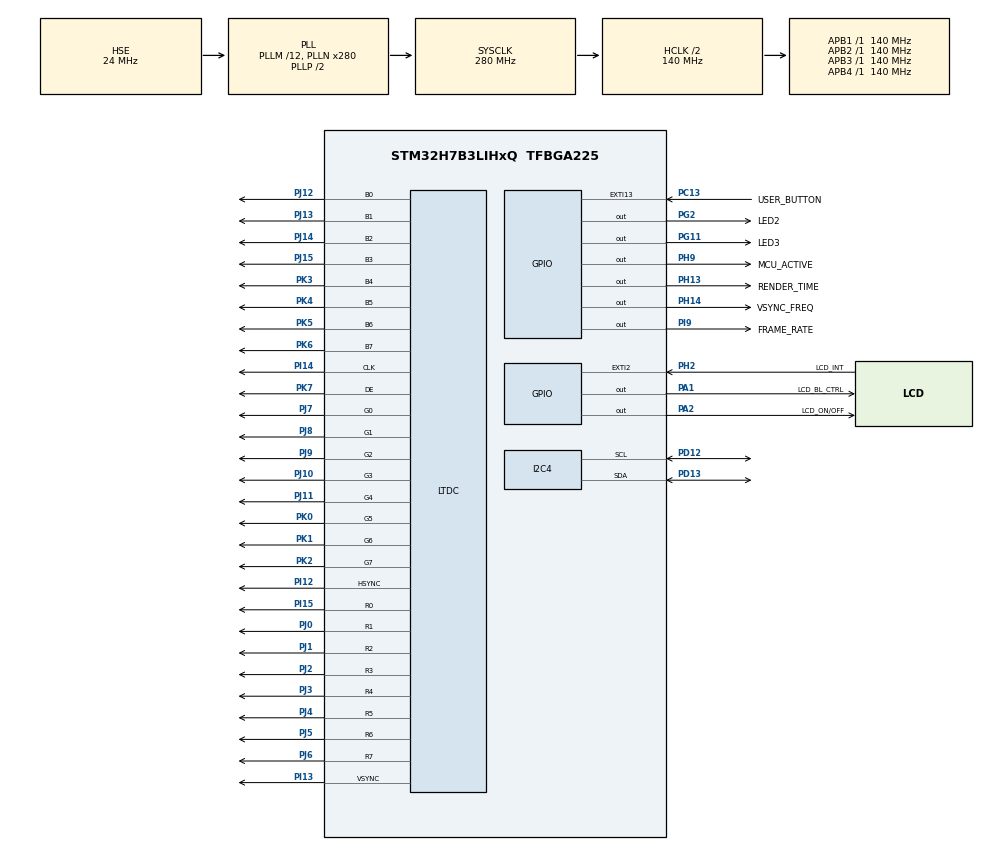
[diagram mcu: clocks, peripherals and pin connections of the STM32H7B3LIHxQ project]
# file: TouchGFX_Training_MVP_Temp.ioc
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CORTEX_M7.AccessPermission-Cortex_Memory_Protection_Unit_Region1_Settings=MPU_REGION_FULL_ACCESS
CORTEX_M7.AccessPermission-Cortex_Memory_Protection_Unit_Region2_Settings=MPU_REGION_FULL_ACCESS
CORTEX_M7.AccessPermission-Cortex_Memory_Protection_Unit_Region3_Settings=MPU_REGION_FULL_ACCESS
CORTEX_M7.BaseAddress-Cortex_Memory_Protection_Unit_Region0_Settings=0x90000000
CORTEX_M7.BaseAddress-Cortex_Memory_Protection_Unit_Region1_Settings=0x90000000
CORTEX_M7.BaseAddress-Cortex_Memory_Protection_Unit_Region2_Settings=0x24000000
CORTEX_M7.BaseAddress-Cortex_Memory_Protection_Unit_Region3_Settings=0x24000000
CORTEX_M7.CPU_DCache=Enabled
CORTEX_M7.CPU_ICache=Enabled
CORTEX_M7.DisableExec-Cortex_Memory_Protection_Unit_Region0_Settings=MPU_INSTRUCTION_ACCESS_DISABLE
CORTEX_M7.DisableExec-Cortex_Memory_Protection_Unit_Region1_Settings=MPU_INSTRUCTION_ACCESS_DISABLE
CORTEX_M7.DisableExec-Cortex_Memory_Protection_Unit_Region2_Settings=MPU_INSTRUCTION_ACCESS_DISABLE
CORTEX_M7.DisableExec-Cortex_Memory_Protection_Unit_Region3_Settings=MPU_INSTRUCTION_ACCESS_DISABLE
CORTEX_M7.Enable-Cortex_Memory_Protection_Unit_Region0_Settings=MPU_REGION_ENABLE
CORTEX_M7.Enable-Cortex_Memory_Protection_Unit_Region1_Settings=MPU_REGION_ENABLE
CORTEX_M7.Enable-Cortex_Memory_Protection_Unit_Region2_Settings=MPU_REGION_ENABLE
CORTEX_M7.Enable-Cortex_Memory_Protection_Unit_Region3_Settings=MPU_REGION_ENABLE
CORTEX_M7.IsBufferable-Cortex_Memory_Protection_Unit_Region1_Settings=MPU_ACCESS_NOT_BUFFERABLE
CORTEX_M7.IsBufferable-Cortex_Memory_Protection_Unit_Region3_Settings=MPU_ACCESS_BUFFERABLE
CORTEX_M7.IsCacheable-Cortex_Memory_Protection_Unit_Region1_Settings=MPU_ACCESS_CACHEABLE
CORTEX_M7.IsCacheable-Cortex_Memory_Protection_Unit_Region2_Settings=MPU_ACCESS_CACHEABLE
CORTEX_M7.IsCacheable-Cortex_Memory_Protection_Unit_Region3_Settings=MPU_ACCESS_CACHEABLE
CORTEX_M7.MPU_Control=MPU_PRIVILEGED_DEFAULT
CORTEX_M7.Size-Cortex_Memory_Protection_Unit_Region0_Settings=MPU_REGION_SIZE_256MB
CORTEX_M7.Size-Cortex_Memory_Protection_Unit_Region1_Settings=MPU_REGION_SIZE_64MB
CORTEX_M7.Size-Cortex_Memory_Protection_Unit_Region2_Settings=MPU_REGION_SIZE_1MB
CORTEX_M7.Size-Cortex_Memory_Protection_Unit_Region3_Settings=MPU_REGION_SIZE_256KB
CORTEX_M7.default_mode_Activation=0
DMA2D.ColorMode=DMA2D_OUTPUT_RGB565
FREERTOS.Queues01=buttonQueue,16,uint16_t,0,Dynamic,NULL,NULL
FREERTOS.Tasks01=defaultTask,24,128,StartDefaultTask,Default,NULL,Dynamic,NULL,NULL;GUI_Task,24,8192,TouchGFX_Task,As external,NULL,Dynamic,NULL,NULL
FREERTOS.configTOTAL_HEAP_SIZE=100000
FREERTOS.configUSE_APPLICATION_TASK_TAG=1
FREERTOS.configUSE_IDLE_HOOK=1
FREERTOS.configUSE_NEWLIB_REENTRANT=1
I2C4.Analog_Filter=I2C_ANALOGFILTER_DISABLE
I2C4.Timing=0x30808BD0
LTDC.ActiveH=272
LTDC.ActiveW=480
LTDC.Alpha_L0=255
LTDC.Blue_L0=255
LTDC.FBStartAdress_L0=0xD0000000
LTDC.HBP=2
LTDC.HFP=32
LTDC.HSync=41
LTDC.ImageHeight_L0=272
LTDC.ImageWidth_L0=480
LTDC.Layers=0
LTDC.PixelFormat_L0=LTDC_PIXEL_FORMAT_RGB888
LTDC.VSync=10
LTDC.WindowX1_L0=480
LTDC.WindowY1_L0=272
Mcu.Family=STM32H7
Mcu.Name=STM32H7B3LIHxQ
Mcu.Package=TFBGA225
NVIC.DMA2D_IRQn=true\:5\:0\:false\:false\:true\:true\:true\:true\:true
NVIC.EXTI15_10_IRQn=true\:5\:0\:false\:false\:true\:true\:true\:true\:true
NVIC.EXTI2_IRQn=true\:5\:0\:false\:false\:true\:false\:true\:true\:true
NVIC.LTDC_IRQn=true\:5\:0\:false\:false\:true\:true\:true\:true\:true
NVIC.OCTOSPI1_IRQn=true\:5\:0\:false\:false\:true\:true\:true\:true\:true
NVIC.PriorityGroup=NVIC_PRIORITYGROUP_4
NVIC.TIM6_DAC_IRQn=true\:15\:0\:false\:false\:true\:false\:false\:true\:true
NVIC.TimeBase=TIM6_DAC_IRQn
NVIC.TimeBaseIP=TIM6
OCTOSPI1.ChipSelectHighTime=2
OCTOSPI1.ClockPrescaler=3
OCTOSPI1.DeviceSize=26
PA1.GPIO_Label=LCD_BL_CTRL
PA1.Signal=GPIO_Output
PA2.GPIO_Label=LCD_ON/OFF
PA2.GPIO_PuPd=GPIO_PULLUP
PA2.Signal=GPIO_Output
PC13.GPIO_Label=USER_BUTTON
PC13.Signal=GPXTI13
PD12.GPIO_Pu=GPIO_PULLUP
PD12.GPIO_Speed=GPIO_SPEED_FREQ_HIGH
PD12.Mode=I2C
PD12.Signal=I2C4_SCL
PD13.GPIO_Pu=GPIO_PULLUP
PD13.GPIO_Speed=GPIO_SPEED_FREQ_HIGH
PD13.Mode=I2C
PD13.Signal=I2C4_SDA
PG11.GPIO_Label=LED3
PG11.PinState=GPIO_PIN_SET
PG11.Signal=GPIO_Output
PG2.GPIO_Label=LED2
PG2.PinState=GPIO_PIN_SET
PG2.Signal=GPIO_Output
PH0-OSC_IN.Mode=HSE-External-Oscillator
PH0-OSC_IN.Signal=RCC_OSC_IN
PH1-OSC_OUT.Mode=HSE-External-Oscillator
PH1-OSC_OUT.Signal=RCC_OSC_OUT
PH13.GPIO_Label=RENDER_TIME
PH13.GPIO_Speed=GPIO_SPEED_FREQ_VERY_HIGH
PH13.Signal=GPIO_Output
PH14.GPIO_Label=VSYNC_FREQ
PH14.GPIO_Speed=GPIO_SPEED_FREQ_VERY_HIGH
PH14.Signal=GPIO_Output
PH2.GPIO_Label=LCD_INT
PH2.GPIO_PuPd=GPIO_PULLUP
PH2.Signal=GPXTI2
PH5.Signal=FMC_SDNWE
PH6.Signal=FMC_SDNE1
PH7.Signal=FMC_SDCKE1
PH9.GPIO_Label=MCU_ACTIVE
PH9.GPIO_Speed=GPIO_SPEED_FREQ_VERY_HIGH
PH9.Signal=GPIO_Output
PI12.Mode=RGB888
PI12.Signal=LTDC_HSYNC
PI13.Mode=RGB888
PI13.Signal=LTDC_VSYNC
PI14.Mode=RGB888
PI14.Signal=LTDC_CLK
PI15.Mode=RGB888
PI15.Signal=LTDC_R0
PI9.GPIO_Label=FRAME_RATE
PI9.GPIO_Speed=GPIO_SPEED_FREQ_VERY_HIGH
PI9.Signal=GPIO_Output
PJ0.Mode=RGB888
PJ0.Signal=LTDC_R1
PJ1.Mode=RGB888
PJ1.Signal=LTDC_R2
PJ10.Mode=RGB888
PJ10.Signal=LTDC_G3
PJ11.Mode=RGB888
PJ11.Signal=LTDC_G4
PJ12.Mode=RGB888
PJ12.Signal=LTDC_B0
PJ13.Mode=RGB888
PJ13.Signal=LTDC_B1
PJ14.Mode=RGB888
PJ14.Signal=LTDC_B2
PJ15.Mode=RGB888
PJ15.Signal=LTDC_B3
PJ2.Mode=RGB888
PJ2.Signal=LTDC_R3
PJ3.Mode=RGB888
PJ3.Signal=LTDC_R4
PJ4.Mode=RGB888
PJ4.Signal=LTDC_R5
PJ5.Mode=RGB888
PJ5.Signal=LTDC_R6
PJ6.Mode=RGB888
PJ6.Signal=LTDC_R7
PJ7.Mode=RGB888
PJ7.Signal=LTDC_G0
PJ8.Mode=RGB888
PJ8.Signal=LTDC_G1
PJ9.Mode=RGB888
PJ9.Signal=LTDC_G2
PK0.Mode=RGB888
PK0.Signal=LTDC_G5
PK1.Mode=RGB888
PK1.Signal=LTDC_G6
PK2.Mode=RGB888
PK2.Signal=LTDC_G7
PK3.Mode=RGB888
PK3.Signal=LTDC_B4
PK4.Mode=RGB888
PK4.Signal=LTDC_B5
PK5.Mode=RGB888
PK5.Signal=LTDC_B6
PK6.Mode=RGB888
PK6.Signal=LTDC_B7
PK7.Mode=RGB888
PK7.Signal=LTDC_DE
ProjectManager.HeapSize=0x1000
ProjectManager.StackSize=0x1000
ProjectManager.TargetToolchain=STM32CubeIDE
RCC.ADCFreq_Value=133000000
RCC.APB1Freq_Value=140000000
RCC.APB2Freq_Value=140000000
RCC.APB3Freq_Value=140000000
RCC.APB4Freq_Value=140000000
RCC.CortexFreq_Value=280000000
RCC.DIVM1=12
RCC.DIVM2=24
RCC.DIVM3=24
RCC.DIVN1=280
RCC.DIVN2=266
RCC.DIVN3=201
RCC.DIVR3=21
RCC.HCLKFreq_Value=140000000
RCC.HPRE=RCC_HCLK_DIV2
RCC.HSE_VALUE=24000000
RCC.PLL3FRACN=5462
RCC.PLLSourceVirtual=RCC_PLLSOURCE_HSE
RCC.SYSCLKFreq_VALUE=280000000
RCC.SYSCLKSource=RCC_SYSCLKSOURCE_PLLCLK
RCC.USBFreq_Value=280000000
SH.FMC_SDNWE.0=FMC_SDNWE
STMicroelectronics.X-CUBE-TOUCHGFX.4.23.2.ApplicationCcGraphicsJjApplication=TouchGFXOoGenerator
STMicroelectronics.X-CUBE-TOUCHGFX.4.23.2.tgfx_buffering_strategy=Single
STMicroelectronics.X-CUBE-TOUCHGFX.4.23.2.tgfx_display_interface=disp_ltdc
STMicroelectronics.X-CUBE-TOUCHGFX.4.23.2.tgfx_hardware_accelerator=dma_2d
STMicroelectronics.X-CUBE-TOUCHGFX.4.23.2.tgfx_vsync=vsync_ltdc
STMicroelectronics.X-CUBE-TOUCHGFX.4.23.2_IsPackSelfContextualization=true
VP_CRC_VS_CRC.Mode=CRC_Activate
VP_DMA2D_VS_DMA2D.Mode=DMA2D_Activate
VP_FREERTOS_VS_CMSIS_V2.Mode=CMSIS_V2
VP_OCTOSPI1_VS_octo.Mode=octo_mode
VP_STMicroelectronics.X-CUBE-TOUCHGFX_VS_GraphicsJjApplication_4.23.2.Mode=GraphicsJjApplication
VP_SYS_VS_tim6.Mode=TIM6
board=custom

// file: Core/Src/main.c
/* USER CODE BEGIN Header */
/**
  ******************************************************************************
  * @file           : main.c
  * @brief          : Main program body
  ******************************************************************************
  * @attention
  *
  * Copyright (c) 2024 STMicroelectronics.
  * All rights reserved.
  *
  * This software is licensed under terms that can be found in the LICENSE file
  * in the root directory of this software component.
  * If no LICENSE file comes with this software, it is provided AS-IS.
  *
  ******************************************************************************
  */
/* USER CODE END Header */
#include "main.h"
#include "cmsis_os.h"
#include "app_touchgfx.h"

/* USER CODE BEGIN Includes */
#include "stm32h7b3i_discovery_ospi.h"
/* USER CODE END Includes */

CRC_HandleTypeDef hcrc;

DMA2D_HandleTypeDef hdma2d;

I2C_HandleTypeDef hi2c4;

LTDC_HandleTypeDef hltdc;

OSPI_HandleTypeDef hospi1;

/* Definitions for defaultTask */
osThreadId_t defaultTaskHandle;
const osThreadAttr_t defaultTask_attributes = {
  .name = "defaultTask",
  .stack_size = 128 * 4,
  .priority = (osPriority_t) osPriorityNormal,
};
/* Definitions for GUI_Task */
osThreadId_t GUI_TaskHandle;
const osThreadAttr_t GUI_Task_attributes = {
  .name = "GUI_Task",
  .stack_size = 8192 * 4,
  .priority = (osPriority_t) osPriorityNormal,
};
/* Definitions for buttonQueue */
osMessageQueueId_t buttonQueueHandle;
const osMessageQueueAttr_t buttonQueue_attributes = {
  .name = "buttonQueue"
};

void SystemClock_Config(void);
static void MPU_Config(void);
static void MX_GPIO_Init(void);
static void MX_DMA2D_Init(void);
static void MX_I2C4_Init(void);
static void MX_OCTOSPI1_Init(void);
static void MX_CRC_Init(void);
static void MX_LTDC_Init(void);
void StartDefaultTask(void *argument);
extern void TouchGFX_Task(void *argument);

int main(void)
{

  /* MPU Configuration--------------------------------------------------------*/
  MPU_Config();

  /* Enable the CPU Cache */

  /* Enable I-Cache---------------------------------------------------------*/
  SCB_EnableICache();

  /* Enable D-Cache---------------------------------------------------------*/
  SCB_EnableDCache();

  /* MCU Configuration--------------------------------------------------------*/

  /* Reset of all peripherals, Initializes the Flash interface and the Systick. */
  HAL_Init();

  /* Configure the system clock */
  SystemClock_Config();

  /* Initialize all configured peripherals */
  MX_GPIO_Init();
  MX_DMA2D_Init();
  MX_I2C4_Init();
  MX_OCTOSPI1_Init();
  MX_CRC_Init();
  MX_LTDC_Init();
  MX_TouchGFX_Init();
  /* Call PreOsInit function */
  MX_TouchGFX_PreOSInit();

  /* Init scheduler */
  osKernelInitialize();

  /* Create the queue(s) */
  /* creation of buttonQueue */
  buttonQueueHandle = osMessageQueueNew (16, sizeof(uint16_t), &buttonQueue_attributes);

  /* Create the thread(s) */
  /* creation of defaultTask */
  defaultTaskHandle = osThreadNew(StartDefaultTask, NULL, &defaultTask_attributes);

  /* creation of GUI_Task */
  GUI_TaskHandle = osThreadNew(TouchGFX_Task, NULL, &GUI_Task_attributes);

  /* Start scheduler */
  osKernelStart();

  /* We should never get here as control is now taken by the scheduler */

  /* Infinite loop */
  while (1)
  {

  }
}

void SystemClock_Config(void)
{
  RCC_OscInitTypeDef RCC_OscInitStruct = {0};
  RCC_ClkInitTypeDef RCC_ClkInitStruct = {0};

  /*AXI clock gating */
  RCC->CKGAENR = 0xFFFFFFFF;

  /** Supply configuration update enable
  */
  HAL_PWREx_ConfigSupply(PWR_DIRECT_SMPS_SUPPLY);

  /** Configure the main internal regulator output voltage
  */
  __HAL_PWR_VOLTAGESCALING_CONFIG(PWR_REGULATOR_VOLTAGE_SCALE0);

  while(!__HAL_PWR_GET_FLAG(PWR_FLAG_VOSRDY)) {}

  /** Initializes the RCC Oscillators according to the specified parameters
  * in the RCC_OscInitTypeDef structure.
  */
  RCC_OscInitStruct.OscillatorType = RCC_OSCILLATORTYPE_HSE;
  RCC_OscInitStruct.HSEState = RCC_HSE_ON;
  RCC_OscInitStruct.PLL.PLLState = RCC_PLL_ON;
  RCC_OscInitStruct.PLL.PLLSource = RCC_PLLSOURCE_HSE;
  RCC_OscInitStruct.PLL.PLLM = 12;
  RCC_OscInitStruct.PLL.PLLN = 280;
  RCC_OscInitStruct.PLL.PLLP = 2;
  RCC_OscInitStruct.PLL.PLLQ = 2;
  RCC_OscInitStruct.PLL.PLLR = 2;
  RCC_OscInitStruct.PLL.PLLRGE = RCC_PLL1VCIRANGE_1;
  RCC_OscInitStruct.PLL.PLLVCOSEL = RCC_PLL1VCOWIDE;
  RCC_OscInitStruct.PLL.PLLFRACN = 0;
  if (HAL_RCC_OscConfig(&RCC_OscInitStruct) != HAL_OK)
  {
    Error_Handler();
  }

  /** Initializes the CPU, AHB and APB buses clocks
  */
  RCC_ClkInitStruct.ClockType = RCC_CLOCKTYPE_HCLK|RCC_CLOCKTYPE_SYSCLK
                              |RCC_CLOCKTYPE_PCLK1|RCC_CLOCKTYPE_PCLK2
                              |RCC_CLOCKTYPE_D3PCLK1|RCC_CLOCKTYPE_D1PCLK1;
  RCC_ClkInitStruct.SYSCLKSource = RCC_SYSCLKSOURCE_PLLCLK;
  RCC_ClkInitStruct.SYSCLKDivider = RCC_SYSCLK_DIV1;
  RCC_ClkInitStruct.AHBCLKDivider = RCC_HCLK_DIV2;
  RCC_ClkInitStruct.APB3CLKDivider = RCC_APB3_DIV1;
  RCC_ClkInitStruct.APB1CLKDivider = RCC_APB1_DIV1;
  RCC_ClkInitStruct.APB2CLKDivider = RCC_APB2_DIV1;
  RCC_ClkInitStruct.APB4CLKDivider = RCC_APB4_DIV1;

  if (HAL_RCC_ClockConfig(&RCC_ClkInitStruct, FLASH_LATENCY_3) != HAL_OK)
  {
    Error_Handler();
  }
}

static void MX_CRC_Init(void)
{

  hcrc.Instance = CRC;
  hcrc.Init.DefaultPolynomialUse = DEFAULT_POLYNOMIAL_ENABLE;
  hcrc.Init.DefaultInitValueUse = DEFAULT_INIT_VALUE_ENABLE;
  hcrc.Init.InputDataInversionMode = CRC_INPUTDATA_INVERSION_NONE;
  hcrc.Init.OutputDataInversionMode = CRC_OUTPUTDATA_INVERSION_DISABLE;
  hcrc.InputDataFormat = CRC_INPUTDATA_FORMAT_BYTES;
  if (HAL_CRC_Init(&hcrc) != HAL_OK)
  {
    Error_Handler();
  }

}

static void MX_DMA2D_Init(void)
{

  hdma2d.Instance = DMA2D;
  hdma2d.Init.Mode = DMA2D_M2M;
  hdma2d.Init.ColorMode = DMA2D_OUTPUT_RGB565;
  hdma2d.Init.OutputOffset = 0;
  hdma2d.LayerCfg[1].InputOffset = 0;
  hdma2d.LayerCfg[1].InputColorMode = DMA2D_INPUT_RGB565;
  hdma2d.LayerCfg[1].AlphaMode = DMA2D_NO_MODIF_ALPHA;
  hdma2d.LayerCfg[1].InputAlpha = 0;
  hdma2d.LayerCfg[1].AlphaInverted = DMA2D_REGULAR_ALPHA;
  hdma2d.LayerCfg[1].RedBlueSwap = DMA2D_RB_REGULAR;
  hdma2d.LayerCfg[1].ChromaSubSampling = DMA2D_NO_CSS;
  if (HAL_DMA2D_Init(&hdma2d) != HAL_OK)
  {
    Error_Handler();
  }
  if (HAL_DMA2D_ConfigLayer(&hdma2d, 1) != HAL_OK)
  {
    Error_Handler();
  }

}

static void MX_I2C4_Init(void)
{

  hi2c4.Instance = I2C4;
  hi2c4.Init.Timing = 0x30808BD0;
  hi2c4.Init.OwnAddress1 = 0;
  hi2c4.Init.AddressingMode = I2C_ADDRESSINGMODE_7BIT;
  hi2c4.Init.DualAddressMode = I2C_DUALADDRESS_DISABLE;
  hi2c4.Init.OwnAddress2 = 0;
  hi2c4.Init.OwnAddress2Masks = I2C_OA2_NOMASK;
  hi2c4.Init.GeneralCallMode = I2C_GENERALCALL_DISABLE;
  hi2c4.Init.NoStretchMode = I2C_NOSTRETCH_DISABLE;
  if (HAL_I2C_Init(&hi2c4) != HAL_OK)
  {
    Error_Handler();
  }

  /** Configure Analogue filter
  */
  if (HAL_I2CEx_ConfigAnalogFilter(&hi2c4, I2C_ANALOGFILTER_DISABLE) != HAL_OK)
  {
    Error_Handler();
  }

  /** Configure Digital filter
  */
  if (HAL_I2CEx_ConfigDigitalFilter(&hi2c4, 0) != HAL_OK)
  {
    Error_Handler();
  }

}

static void MX_LTDC_Init(void)
{

  LTDC_LayerCfgTypeDef pLayerCfg = {0};

  hltdc.Instance = LTDC;
  hltdc.Init.HSPolarity = LTDC_HSPOLARITY_AL;
  hltdc.Init.VSPolarity = LTDC_VSPOLARITY_AL;
  hltdc.Init.DEPolarity = LTDC_DEPOLARITY_AL;
  hltdc.Init.PCPolarity = LTDC_PCPOLARITY_IPC;
  hltdc.Init.HorizontalSync = 40;
  hltdc.Init.VerticalSync = 9;
  hltdc.Init.AccumulatedHBP = 42;
  hltdc.Init.AccumulatedVBP = 11;
  hltdc.Init.AccumulatedActiveW = 522;
  hltdc.Init.AccumulatedActiveH = 283;
  hltdc.Init.TotalWidth = 554;
  hltdc.Init.TotalHeigh = 285;
  hltdc.Init.Backcolor.Blue = 0;
  hltdc.Init.Backcolor.Green = 0;
  hltdc.Init.Backcolor.Red = 0;
  if (HAL_LTDC_Init(&hltdc) != HAL_OK)
  {
    Error_Handler();
  }
  pLayerCfg.WindowX0 = 0;
  pLayerCfg.WindowX1 = 480;
  pLayerCfg.WindowY0 = 0;
  pLayerCfg.WindowY1 = 272;
  pLayerCfg.PixelFormat = LTDC_PIXEL_FORMAT_RGB888;
  pLayerCfg.Alpha = 255;
  pLayerCfg.Alpha0 = 0;
  pLayerCfg.BlendingFactor1 = LTDC_BLENDING_FACTOR1_CA;
  pLayerCfg.BlendingFactor2 = LTDC_BLENDING_FACTOR2_CA;
  pLayerCfg.FBStartAdress = 0xD0000000;
  pLayerCfg.ImageWidth = 480;
  pLayerCfg.ImageHeight = 272;
  pLayerCfg.Backcolor.Blue = 255;
  pLayerCfg.Backcolor.Green = 0;
  pLayerCfg.Backcolor.Red = 0;
  if (HAL_LTDC_ConfigLayer(&hltdc, &pLayerCfg, 0) != HAL_OK)
  {
    Error_Handler();
  }

}

static void MX_OCTOSPI1_Init(void)
{

  /* OCTOSPI1 parameter configuration*/
  hospi1.Instance = OCTOSPI1;
  hospi1.Init.FifoThreshold = 1;
  hospi1.Init.DualQuad = HAL_OSPI_DUALQUAD_DISABLE;
  hospi1.Init.MemoryType = HAL_OSPI_MEMTYPE_MICRON;
  hospi1.Init.DeviceSize = 26;
  hospi1.Init.ChipSelectHighTime = 2;
  hospi1.Init.FreeRunningClock = HAL_OSPI_FREERUNCLK_DISABLE;
  hospi1.Init.ClockMode = HAL_OSPI_CLOCK_MODE_0;
  hospi1.Init.WrapSize = HAL_OSPI_WRAP_NOT_SUPPORTED;
  hospi1.Init.ClockPrescaler = 3;
  hospi1.Init.SampleShifting = HAL_OSPI_SAMPLE_SHIFTING_NONE;
  hospi1.Init.DelayHoldQuarterCycle = HAL_OSPI_DHQC_DISABLE;
  hospi1.Init.ChipSelectBoundary = 0;
  hospi1.Init.DelayBlockBypass = HAL_OSPI_DELAY_BLOCK_BYPASSED;
  hospi1.Init.MaxTran = 0;
  hospi1.Init.Refresh = 0;
  if (HAL_OSPI_Init(&hospi1) != HAL_OK)
  {
    Error_Handler();
  }
  /* USER CODE BEGIN OCTOSPI1_Init 2 */
  BSP_OSPI_NOR_Init_t Flash;
  Flash.InterfaceMode = BSP_OSPI_NOR_OPI_MODE;
  Flash.TransferRate  = BSP_OSPI_NOR_DTR_TRANSFER;
  BSP_OSPI_NOR_DeInit(0);
  int32_t RetVal = BSP_OSPI_NOR_Init(0, &Flash);
  if(RetVal != BSP_ERROR_NONE)
  {
    Error_Handler();
  }
  RetVal = BSP_OSPI_NOR_EnableMemoryMappedMode(0);
  if(RetVal != BSP_ERROR_NONE)
  {
    Error_Handler();
  }
  /* USER CODE END OCTOSPI1_Init 2 */

}

static void MX_GPIO_Init(void)
{
  GPIO_InitTypeDef GPIO_InitStruct = {0};

  /* GPIO Ports Clock Enable */
  __HAL_RCC_GPIOK_CLK_ENABLE();
  __HAL_RCC_GPIOG_CLK_ENABLE();
  __HAL_RCC_GPIOJ_CLK_ENABLE();
  __HAL_RCC_GPIOH_CLK_ENABLE();
  __HAL_RCC_GPIOI_CLK_ENABLE();
  __HAL_RCC_GPIOC_CLK_ENABLE();
  __HAL_RCC_GPIOD_CLK_ENABLE();
  __HAL_RCC_GPIOA_CLK_ENABLE();

  /*Configure GPIO pin Output Level */
  HAL_GPIO_WritePin(GPIOG, LED3_Pin|LED2_Pin, GPIO_PIN_SET);

  /*Configure GPIO pin Output Level */
  HAL_GPIO_WritePin(GPIOH, VSYNC_FREQ_Pin|RENDER_TIME_Pin|MCU_ACTIVE_Pin, GPIO_PIN_RESET);

  /*Configure GPIO pin Output Level */
  HAL_GPIO_WritePin(FRAME_RATE_GPIO_Port, FRAME_RATE_Pin, GPIO_PIN_RESET);

  /*Configure GPIO pin Output Level */
  HAL_GPIO_WritePin(GPIOA, LCD_BL_CTRL_Pin|LCD_ON_OFF_Pin, GPIO_PIN_RESET);

  /*Configure GPIO pins : LED3_Pin LED2_Pin */
  GPIO_InitStruct.Pin = LED3_Pin|LED2_Pin;
  GPIO_InitStruct.Mode = GPIO_MODE_OUTPUT_PP;
  GPIO_InitStruct.Pull = GPIO_NOPULL;
  GPIO_InitStruct.Speed = GPIO_SPEED_FREQ_LOW;
  HAL_GPIO_Init(GPIOG, &GPIO_InitStruct);

  /*Configure GPIO pins : VSYNC_FREQ_Pin RENDER_TIME_Pin MCU_ACTIVE_Pin */
  GPIO_InitStruct.Pin = VSYNC_FREQ_Pin|RENDER_TIME_Pin|MCU_ACTIVE_Pin;
  GPIO_InitStruct.Mode = GPIO_MODE_OUTPUT_PP;
  GPIO_InitStruct.Pull = GPIO_NOPULL;
  GPIO_InitStruct.Speed = GPIO_SPEED_FREQ_VERY_HIGH;
  HAL_GPIO_Init(GPIOH, &GPIO_InitStruct);

  /*Configure GPIO pin : FRAME_RATE_Pin */
  GPIO_InitStruct.Pin = FRAME_RATE_Pin;
  GPIO_InitStruct.Mode = GPIO_MODE_OUTPUT_PP;
  GPIO_InitStruct.Pull = GPIO_NOPULL;
  GPIO_InitStruct.Speed = GPIO_SPEED_FREQ_VERY_HIGH;
  HAL_GPIO_Init(FRAME_RATE_GPIO_Port, &GPIO_InitStruct);

  /*Configure GPIO pin : USER_BUTTON_Pin */
  GPIO_InitStruct.Pin = USER_BUTTON_Pin;
  GPIO_InitStruct.Mode = GPIO_MODE_IT_RISING;
  GPIO_InitStruct.Pull = GPIO_NOPULL;
  HAL_GPIO_Init(USER_BUTTON_GPIO_Port, &GPIO_InitStruct);

  /*Configure GPIO pin : LCD_INT_Pin */
  GPIO_InitStruct.Pin = LCD_INT_Pin;
  GPIO_InitStruct.Mode = GPIO_MODE_IT_RISING;
  GPIO_InitStruct.Pull = GPIO_PULLUP;
  HAL_GPIO_Init(LCD_INT_GPIO_Port, &GPIO_InitStruct);

  /*Configure GPIO pins : PH6 PH5 PH7 */
  GPIO_InitStruct.Pin = GPIO_PIN_6|GPIO_PIN_5|GPIO_PIN_7;
  GPIO_InitStruct.Mode = GPIO_MODE_AF_PP;
  GPIO_InitStruct.Pull = GPIO_NOPULL;
  GPIO_InitStruct.Speed = GPIO_SPEED_FREQ_VERY_HIGH;
  GPIO_InitStruct.Alternate = GPIO_AF12_FMC;
  HAL_GPIO_Init(GPIOH, &GPIO_InitStruct);

  /*Configure GPIO pin : LCD_BL_CTRL_Pin */
  GPIO_InitStruct.Pin = LCD_BL_CTRL_Pin;
  GPIO_InitStruct.Mode = GPIO_MODE_OUTPUT_PP;
  GPIO_InitStruct.Pull = GPIO_NOPULL;
  GPIO_InitStruct.Speed = GPIO_SPEED_FREQ_LOW;
  HAL_GPIO_Init(LCD_BL_CTRL_GPIO_Port, &GPIO_InitStruct);

  /*Configure GPIO pin : LCD_ON_OFF_Pin */
  GPIO_InitStruct.Pin = LCD_ON_OFF_Pin;
  GPIO_InitStruct.Mode = GPIO_MODE_OUTPUT_PP;
  GPIO_InitStruct.Pull = GPIO_PULLUP;
  GPIO_InitStruct.Speed = GPIO_SPEED_FREQ_LOW;
  HAL_GPIO_Init(LCD_ON_OFF_GPIO_Port, &GPIO_InitStruct);

  /* EXTI interrupt init*/
  HAL_NVIC_SetPriority(EXTI2_IRQn, 5, 0);
  HAL_NVIC_EnableIRQ(EXTI2_IRQn);

  HAL_NVIC_SetPriority(EXTI15_10_IRQn, 5, 0);
  HAL_NVIC_EnableIRQ(EXTI15_10_IRQn);

}

/* USER CODE BEGIN 4 */
static uint32_t button_state = RESET;

void HAL_GPIO_EXTI_Callback(uint16_t GPIO_Pin)
{
	if(GPIO_Pin == GPIO_PIN_13){
		button_state ^= SET;
		osMessageQueuePut(buttonQueueHandle, &button_state, 0, 0);
	}
}
/* USER CODE END 4 */

void StartDefaultTask(void *argument)
{
  for(;;)
  {
    osDelay(1);
  }
}

 /* MPU Configuration */

void MPU_Config(void)
{
  MPU_Region_InitTypeDef MPU_InitStruct = {0};

  /* Disables the MPU */
  HAL_MPU_Disable();

  /** Initializes and configures the Region and the memory to be protected
  */
  MPU_InitStruct.Enable = MPU_REGION_ENABLE;
  MPU_InitStruct.Number = MPU_REGION_NUMBER0;
  MPU_InitStruct.BaseAddress = 0x90000000;
  MPU_InitStruct.Size = MPU_REGION_SIZE_256MB;
  MPU_InitStruct.SubRegionDisable = 0x0;
  MPU_InitStruct.TypeExtField = MPU_TEX_LEVEL0;
  MPU_InitStruct.AccessPermission = MPU_REGION_NO_ACCESS;
  MPU_InitStruct.DisableExec = MPU_INSTRUCTION_ACCESS_DISABLE;
  MPU_InitStruct.IsShareable = MPU_ACCESS_NOT_SHAREABLE;
  MPU_InitStruct.IsCacheable = MPU_ACCESS_NOT_CACHEABLE;
  MPU_InitStruct.IsBufferable = MPU_ACCESS_NOT_BUFFERABLE;

  HAL_MPU_ConfigRegion(&MPU_InitStruct);

  /** Initializes and configures the Region and the memory to be protected
  */
  MPU_InitStruct.Number = MPU_REGION_NUMBER1;
  MPU_InitStruct.Size = MPU_REGION_SIZE_64MB;
  MPU_InitStruct.AccessPermission = MPU_REGION_FULL_ACCESS;
  MPU_InitStruct.IsCacheable = MPU_ACCESS_CACHEABLE;

  HAL_MPU_ConfigRegion(&MPU_InitStruct);

  /** Initializes and configures the Region and the memory to be protected
  */
  MPU_InitStruct.Number = MPU_REGION_NUMBER2;
  MPU_InitStruct.BaseAddress = 0x24000000;
  MPU_InitStruct.Size = MPU_REGION_SIZE_1MB;

  HAL_MPU_ConfigRegion(&MPU_InitStruct);

  /** Initializes and configures the Region and the memory to be protected
  */
  MPU_InitStruct.Number = MPU_REGION_NUMBER3;
  MPU_InitStruct.Size = MPU_REGION_SIZE_256KB;
  MPU_InitStruct.IsBufferable = MPU_ACCESS_BUFFERABLE;

  HAL_MPU_ConfigRegion(&MPU_InitStruct);
  /* Enables the MPU */
  HAL_MPU_Enable(MPU_PRIVILEGED_DEFAULT);

}

void HAL_TIM_PeriodElapsedCallback(TIM_HandleTypeDef *htim)
{
  if (htim->Instance == TIM6) {
    HAL_IncTick();
  }
}

void Error_Handler(void)
{
  __disable_irq();
  while (1)
  {
  }
}
